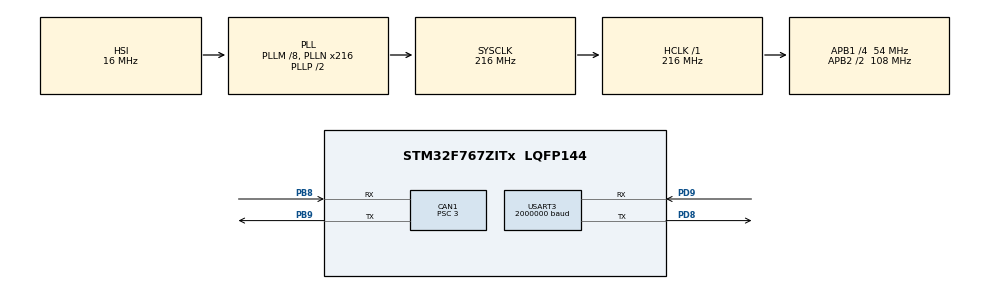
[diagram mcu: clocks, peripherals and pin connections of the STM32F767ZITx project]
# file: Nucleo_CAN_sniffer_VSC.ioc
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CAN1.BS1=CAN_BS1_15TQ
CAN1.BS2=CAN_BS2_2TQ
CAN1.CalculateTimeQuantum=55.55555555555556
CAN1.NART=ENABLE
CAN1.Prescaler=3
Mcu.Family=STM32F7
Mcu.Name=STM32F767ZITx
Mcu.Package=LQFP144
NVIC.CAN1_RX0_IRQn=true\:0\:0\:false\:true\:true\:1\:true\:true
NVIC.CAN1_RX1_IRQn=true\:0\:0\:false\:true\:true\:3\:true\:true
NVIC.CAN1_SCE_IRQn=true\:0\:0\:false\:true\:true\:4\:true\:true
NVIC.CAN1_TX_IRQn=true\:0\:0\:false\:true\:true\:2\:true\:true
NVIC.PriorityGroup=NVIC_PRIORITYGROUP_4
PB8.Mode=Master
PB8.Signal=CAN1_RX
PB9.Mode=Master
PB9.Signal=CAN1_TX
PD8.Mode=Asynchronous
PD8.Signal=USART3_TX
PD9.Mode=Asynchronous
PD9.Signal=USART3_RX
ProjectManager.HeapSize=0x200
ProjectManager.StackSize=0x400
ProjectManager.TargetToolchain=Makefile
RCC.AHBFreq_Value=216000000
RCC.APB1CLKDivider=RCC_HCLK_DIV4
RCC.APB1Freq_Value=54000000
RCC.APB1TimFreq_Value=108000000
RCC.APB2CLKDivider=RCC_HCLK_DIV2
RCC.APB2Freq_Value=108000000
RCC.APB2TimFreq_Value=216000000
RCC.CortexFreq_Value=216000000
RCC.HCLKFreq_Value=216000000
RCC.HSE_VALUE=25000000
RCC.HSI_VALUE=16000000
RCC.LSE_VALUE=32768
RCC.PLLM=8
RCC.PLLN=216
RCC.SYSCLKFreq_VALUE=216000000
RCC.SYSCLKSource=RCC_SYSCLKSOURCE_PLLCLK
RCC.USBFreq_Value=216000000
RCC.VCOOutputFreq_Value=432000000
USART3.BaudRate=2000000
USART3.VirtualMode-Asynchronous=VM_ASYNC
board=custom

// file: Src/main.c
/* USER CODE BEGIN Header */
/**
  ******************************************************************************
  * @file           : main.c
  * @brief          : Main program body
  ******************************************************************************
  * @attention
  *
  * <h2><center>&copy; Copyright (c) 2020 STMicroelectronics.
  * All rights reserved.</center></h2>
  *
  * This software component is licensed by ST under BSD 3-Clause license,
  * the "License"; You may not use this file except in compliance with the
  * License. You may obtain a copy of the License at:
  *                        opensource.org/licenses/BSD-3-Clause
  *
  ******************************************************************************
  */
/* USER CODE END Header */

#include "main.h"

/* USER CODE BEGIN Includes */
#include "stdio.h"
#include "string.h"
/* USER CODE END Includes */

CAN_HandleTypeDef hcan1;

UART_HandleTypeDef huart3;

/* USER CODE BEGIN PV */
typedef struct{

	int id; //can id
	int size; //size of data

	uint8_t dataTx[8];
	uint8_t dataRx[8];

	CAN_HandleTypeDef *hcan;
	CAN_FilterTypeDef canFilter;

	HAL_StatusTypeDef configFilter_status;
	HAL_StatusTypeDef activateNotif_status;
	HAL_StatusTypeDef canStart_status;

}canStruct;

char txt[1000];
canStruct can;
/* USER CODE END PV */

void SystemClock_Config(void);
static void MX_GPIO_Init(void);
static void MX_CAN1_Init(void);
static void MX_USART3_UART_Init(void);
static void MX_NVIC_Init(void);
/* USER CODE BEGIN PFP */
uint8_t CAN_initialization(canStruct *can);
uint8_t CAN_Send(canStruct* can);
/* USER CODE END PFP */

int main(void)
{

  /* MCU Configuration--------------------------------------------------------*/

  /* Reset of all peripherals, Initializes the Flash interface and the Systick. */
  HAL_Init();

  /* Configure the system clock */
  SystemClock_Config();

  /* Initialize all configured peripherals */
  MX_GPIO_Init();
  MX_CAN1_Init();
  MX_USART3_UART_Init();

  /* Initialize interrupts */
  MX_NVIC_Init();
  /* USER CODE BEGIN 2 */
  sprintf(txt, "Program started\r\n");
  HAL_UART_Transmit(&huart3, (uint8_t*)txt, strlen(txt), 10);
  can.hcan = &hcan1;
  CAN_initialization(&can);
  /* USER CODE END 2 */

  /* Infinite loop */
  while (1)
  {

  }
}

void SystemClock_Config(void)
{
  RCC_OscInitTypeDef RCC_OscInitStruct = {0};
  RCC_ClkInitTypeDef RCC_ClkInitStruct = {0};
  RCC_PeriphCLKInitTypeDef PeriphClkInitStruct = {0};

  /** Configure the main internal regulator output voltage
  */
  __HAL_RCC_PWR_CLK_ENABLE();
  __HAL_PWR_VOLTAGESCALING_CONFIG(PWR_REGULATOR_VOLTAGE_SCALE1);
  /** Initializes the CPU, AHB and APB busses clocks
  */
  RCC_OscInitStruct.OscillatorType = RCC_OSCILLATORTYPE_HSI;
  RCC_OscInitStruct.HSIState = RCC_HSI_ON;
  RCC_OscInitStruct.HSICalibrationValue = RCC_HSICALIBRATION_DEFAULT;
  RCC_OscInitStruct.PLL.PLLState = RCC_PLL_ON;
  RCC_OscInitStruct.PLL.PLLSource = RCC_PLLSOURCE_HSI;
  RCC_OscInitStruct.PLL.PLLM = 8;
  RCC_OscInitStruct.PLL.PLLN = 216;
  RCC_OscInitStruct.PLL.PLLP = RCC_PLLP_DIV2;
  RCC_OscInitStruct.PLL.PLLQ = 2;
  if (HAL_RCC_OscConfig(&RCC_OscInitStruct) != HAL_OK)
  {
    Error_Handler();
  }
  /** Activate the Over-Drive mode
  */
  if (HAL_PWREx_EnableOverDrive() != HAL_OK)
  {
    Error_Handler();
  }
  /** Initializes the CPU, AHB and APB busses clocks
  */
  RCC_ClkInitStruct.ClockType = RCC_CLOCKTYPE_HCLK|RCC_CLOCKTYPE_SYSCLK
                              |RCC_CLOCKTYPE_PCLK1|RCC_CLOCKTYPE_PCLK2;
  RCC_ClkInitStruct.SYSCLKSource = RCC_SYSCLKSOURCE_PLLCLK;
  RCC_ClkInitStruct.AHBCLKDivider = RCC_SYSCLK_DIV1;
  RCC_ClkInitStruct.APB1CLKDivider = RCC_HCLK_DIV4;
  RCC_ClkInitStruct.APB2CLKDivider = RCC_HCLK_DIV2;

  if (HAL_RCC_ClockConfig(&RCC_ClkInitStruct, FLASH_LATENCY_7) != HAL_OK)
  {
    Error_Handler();
  }
  PeriphClkInitStruct.PeriphClockSelection = RCC_PERIPHCLK_USART3;
  PeriphClkInitStruct.Usart3ClockSelection = RCC_USART3CLKSOURCE_PCLK1;
  if (HAL_RCCEx_PeriphCLKConfig(&PeriphClkInitStruct) != HAL_OK)
  {
    Error_Handler();
  }
}

/**
  * @brief NVIC Configuration.
  * @retval None
  */
static void MX_NVIC_Init(void)
{
  /* CAN1_RX0_IRQn interrupt configuration */
  HAL_NVIC_SetPriority(CAN1_RX0_IRQn, 0, 0);
  HAL_NVIC_EnableIRQ(CAN1_RX0_IRQn);
  /* CAN1_TX_IRQn interrupt configuration */
  HAL_NVIC_SetPriority(CAN1_TX_IRQn, 0, 0);
  HAL_NVIC_EnableIRQ(CAN1_TX_IRQn);
  /* CAN1_RX1_IRQn interrupt configuration */
  HAL_NVIC_SetPriority(CAN1_RX1_IRQn, 0, 0);
  HAL_NVIC_EnableIRQ(CAN1_RX1_IRQn);
  /* CAN1_SCE_IRQn interrupt configuration */
  HAL_NVIC_SetPriority(CAN1_SCE_IRQn, 0, 0);
  HAL_NVIC_EnableIRQ(CAN1_SCE_IRQn);
}

static void MX_CAN1_Init(void)
{

  hcan1.Instance = CAN1;
  hcan1.Init.Prescaler = 3;
  hcan1.Init.Mode = CAN_MODE_NORMAL;
  hcan1.Init.SyncJumpWidth = CAN_SJW_1TQ;
  hcan1.Init.TimeSeg1 = CAN_BS1_15TQ;
  hcan1.Init.TimeSeg2 = CAN_BS2_2TQ;
  hcan1.Init.TimeTriggeredMode = DISABLE;
  hcan1.Init.AutoBusOff = DISABLE;
  hcan1.Init.AutoWakeUp = DISABLE;
  hcan1.Init.AutoRetransmission = ENABLE;
  hcan1.Init.ReceiveFifoLocked = DISABLE;
  hcan1.Init.TransmitFifoPriority = DISABLE;
  if (HAL_CAN_Init(&hcan1) != HAL_OK)
  {
    Error_Handler();
  }

}

static void MX_USART3_UART_Init(void)
{

  huart3.Instance = USART3;
  huart3.Init.BaudRate = 2000000;
  huart3.Init.WordLength = UART_WORDLENGTH_8B;
  huart3.Init.StopBits = UART_STOPBITS_1;
  huart3.Init.Parity = UART_PARITY_NONE;
  huart3.Init.Mode = UART_MODE_TX_RX;
  huart3.Init.HwFlowCtl = UART_HWCONTROL_NONE;
  huart3.Init.OverSampling = UART_OVERSAMPLING_16;
  huart3.Init.OneBitSampling = UART_ONE_BIT_SAMPLE_DISABLE;
  huart3.AdvancedInit.AdvFeatureInit = UART_ADVFEATURE_NO_INIT;
  if (HAL_UART_Init(&huart3) != HAL_OK)
  {
    Error_Handler();
  }

}

static void MX_GPIO_Init(void)
{

  /* GPIO Ports Clock Enable */
  __HAL_RCC_GPIOD_CLK_ENABLE();
  __HAL_RCC_GPIOB_CLK_ENABLE();

}

/* USER CODE BEGIN 4 */
void HAL_CAN_RxFifo0MsgPendingCallback(CAN_HandleTypeDef *hcan){
  if(HAL_CAN_GetRxFifoFillLevel(hcan,CAN_RX_FIFO0) != 0){
    CAN_RxHeaderTypeDef header;
    uint8_t dataRx[8];
    HAL_CAN_GetRxMessage(hcan, CAN_RX_FIFO0, &header, dataRx);
    sprintf(txt, "%ld %d %d %d %d %d %d %d %d\r\n", header.StdId, dataRx[0], dataRx[1], dataRx[2], dataRx[3], dataRx[4], dataRx[5], dataRx[6], dataRx[7]);
    HAL_UART_Transmit(&huart3, (uint8_t*)txt, strlen(txt), 10);
  }
}
/*******************************************************************
 *                  CAN INITIALIZATION FUNTION
 *******************************************************************/
uint8_t CAN_initialization(canStruct *can){

	//CAN filter initialization
	can->canFilter.FilterMode = CAN_FILTERMODE_IDMASK;
	can->canFilter.FilterIdLow = 0;
	can->canFilter.FilterIdHigh = 0;
	can->canFilter.FilterMaskIdHigh = 0;
	can->canFilter.FilterMaskIdLow = 0;
	can->canFilter.FilterFIFOAssignment = CAN_FILTER_FIFO0;
	can->canFilter.FilterBank = 0;
	can->canFilter.FilterScale  = CAN_FILTERSCALE_16BIT;
	can->canFilter.FilterActivation = ENABLE;

	//CAN filter configuration
	can->configFilter_status = HAL_CAN_ConfigFilter(can->hcan, &can->canFilter);
  sprintf(txt,"CAN FILTER: %d\r\n",can->configFilter_status);
  HAL_UART_Transmit(&huart3, (uint8_t*)txt,strlen(txt),10);

	//CAN interrupt activation
	can->activateNotif_status = HAL_CAN_ActivateNotification(can->hcan, CAN1_TX_IRQn);
  sprintf(txt,"CAN INT TX: %d\r\n",can->activateNotif_status);
  HAL_UART_Transmit(&huart3, (uint8_t*)txt,strlen(txt),10);

  //CAN interrupt activation
	can->activateNotif_status = HAL_CAN_ActivateNotification(can->hcan, CAN1_RX0_IRQn);
  sprintf(txt,"CAN INT TX: %d\r\n",can->activateNotif_status);
  HAL_UART_Transmit(&huart3, (uint8_t*)txt,strlen(txt),10);

	//CAN start
	can->canStart_status = HAL_CAN_Start(can->hcan);
  sprintf(txt,"CAN STAUS: %d\r\n",can->canStart_status);
  HAL_UART_Transmit(&huart3, (uint8_t*)txt,strlen(txt),10);

	if(can->configFilter_status == HAL_OK && can->activateNotif_status == HAL_OK && can->canStart_status == HAL_OK) return 0; // no errors occurred
	else return 1;

}
/* USER CODE END 4 */

void Error_Handler(void)
{
}

/************************ (C) COPYRIGHT STMicroelectronics *****END OF FILE****/
